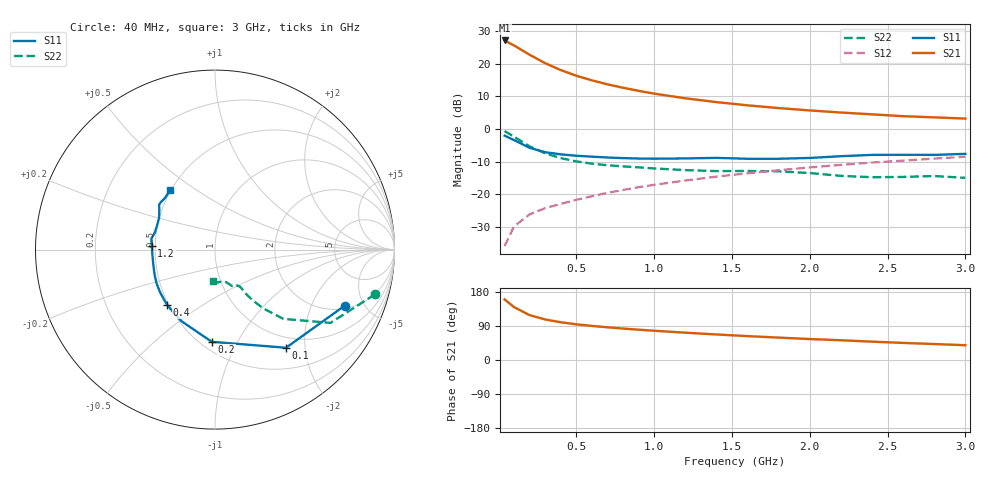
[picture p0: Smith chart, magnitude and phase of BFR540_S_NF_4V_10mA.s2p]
! Filename:  BFR540B.S2P  Version:  3.0
! Philips part #: BFR540  Date: Feb 1992
! Bias condition: Vce=4V, Ic=10mA
#  MHz  S  MA  R  50
! Freq  S11  S21  S12  S22  !GUM [dB]
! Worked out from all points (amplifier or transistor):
!   21 points, 40 MHz to 3 GHz, reference 50 ohm
!   highest |S21| = 27.1 dB at 40 MHz (marker M1)
!   |S21| within 3 dB of that: start of sweep to 152 MHz
!   unconditionally stable (mu >= 1): 952.2 MHz to 2.681 GHz
!   at 300 MHz: K = 0.68, MSG = 22.2 dB, |S12| = -24.3 dB
!   at 1 GHz: K = 1.01, MAG = 13.4 dB, |S12| = -17.1 dB
!   at 3 GHz: K = 0.98, MSG = 5.8 dB, |S12| = -8.5 dB
!   lowest NFmin = 1.30 dB at 900 MHz
!   S11 on the Smith chart (normalised r, x): 40 MHz: 2.19, -3.59; 100 MHz: 0.82, -1.65; 200 MHz: 0.57, -0.79; 400 MHz: 0.49, -0.36; 1.2 GHz: 0.48, +0.02; 3 GHz: 0.49, +0.39
40  0.788 -23.3  22.64 159.8  0.016 77.8  0.926 -15.6
100  0.675 -54.1  18.99 139.7  0.032 65.0  0.762 -32.4
200  0.514 -92.0  13.71 118.5  0.049 58.0  0.542 -45.4
300  0.44 -115.4  10.17 107.0  0.061 57.6  0.424 -50.6
400  0.408 -130.9  7.979 99.6  0.071 58.9  0.357 -53.1
500  0.388 -141.9  6.534 94.2  0.082 60.8  0.318 -54.5
600  0.376 -150.0  5.553 90.0  0.093 62.0  0.294 -55.1
700  0.365 -156.9  4.82 86.3  0.105 63.5  0.278 -55.4
800  0.357 -162.8  4.278 83.0  0.116 64.3  0.267 -55.5
900  0.352 -168.8  3.832 80.0  0.128 65.1  0.258 -55.7
1000  0.35 -174.2  3.474 77.2  0.139 65.5  0.248 -56.2
1200  0.353 176.6  2.946 72.1  0.162 66.0  0.234 -58.5
1400  0.36 170.3  2.576 67.4  0.186 65.8  0.226 -61.7
1600  0.349 164.7  2.298 63.0  0.209 65.8  0.227 -63.0
1800  0.349 158.0  2.085 59.1  0.233 65.2  0.224 -65.1
2000  0.359 150.2  1.919 55.3  0.257 64.4  0.211 -66.9
2200  0.382 144.3  1.783 52.1  0.281 63.6  0.191 -71.4
2400  0.4 141.1  1.672 48.4  0.305 62.4  0.182 -79.8
2600  0.401 138.8  1.566 45.1  0.327 61.1  0.184 -87.6
2800  0.4 134.2  1.503 42.1  0.351 59.9  0.19 -91.4
3000  0.415 127.4  1.44 39.0  0.375 58.5  0.178 -94.1
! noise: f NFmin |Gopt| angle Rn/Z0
900  1.3  0.269  129  0.11
2000  2.1  0.406  -151  0.16
